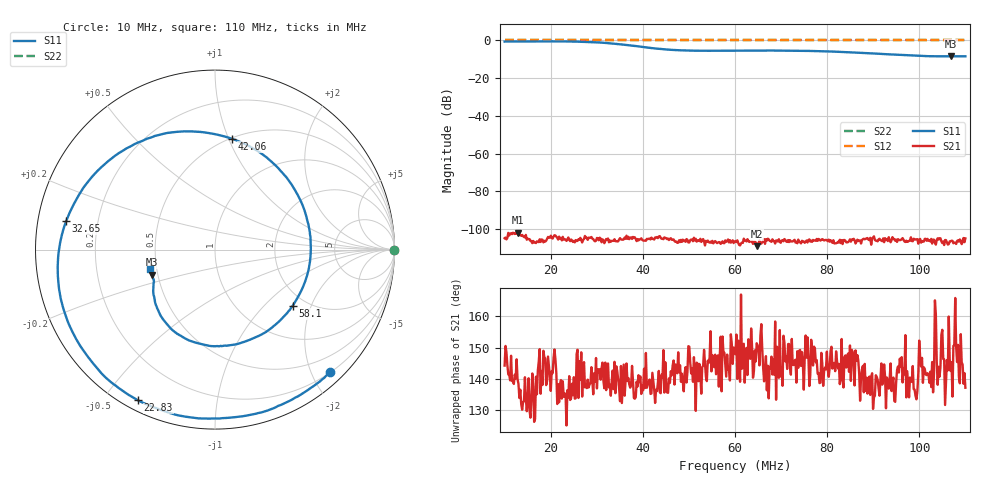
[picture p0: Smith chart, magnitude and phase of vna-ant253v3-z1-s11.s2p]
! Anritsu VNA Master:  Model: MS2034B/10/19/501
! SN:  1337062
! /bd0/ant253v3-z1-s11.s2p
! Existing Calibration Information:
! TYPE:  Current Settings,  Active Cal Settings
! TIME:  01/14/2016 06:03:40 PM,  01/14/2016 05:59:35 PM
! INTERNAL TEMP:  40.5 C,  40.5 C
! # POINTS:  500,  500
! START FREQ:  10.000 MHz,  10.000 MHz
! STOP FREQ:  110.000 MHz,  110.000 MHz
! SOURCE POWER:  High,  High
! IFBW:  100 Hz,  100 Hz
! AVG FACTOR:  4 ,  4
! REF PLANE 1:  0 mm,  0 mm
! REF PLANE 2:  0 mm,  0 mm
! CAL TYPE:  Full S11,  Full S11
! CAL METHOD:  SOLT,  SOLT
! CAL LINE TYPE:  Coax,  Coax
! DUT PORT 1:  K-Conn(M),  K-Conn(M)
! DUT PORT 2:  N-Conn(M),  N-Conn(M)
! CAL STATUS:  OK: Accuracy High,  --
# GHZ S DB R 50.0
! FREQ.GHZ  S11DB  S11A  S21DB  S21A  S12DB  S12A  S22DB  S22A
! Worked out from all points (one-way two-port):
!   500 points, 10 MHz to 110 MHz, reference 50 ohm
!   highest |S21| = -101.91 dB at 12.81 MHz (marker M1); lowest = -109.1 dB at 64.71 MHz (marker M2)
!   lowest |S11| = -8.4 dB at 106.8 MHz (marker M3), VSWR 2.22, Z = 23.2 - j7.58 ohm
!   |S11| at or under -10 dB: nowhere
!   |S22| runs from 0.0 to 0.0 dB; largest |S21 - S12| = 1
!   S11 on the Smith chart (normalised r, x): 10 MHz: 0.21, -2.30; 22.83 MHz: 0.04, -0.61; 32.65 MHz: 0.08, +0.09; 42.06 MHz: 0.51, +1.03; 58.1 MHz: 1.70, -1.49; 110 MHz: 0.46, -0.11
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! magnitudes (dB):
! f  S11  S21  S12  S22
! 10 MHz  -0.6  -104.9  0.0  0.0
! 12.81 MHz  -0.5  -101.9  0.0  0.0
! 22.83 MHz  -0.5  -105.6  0.0  0.0
! 26.83 MHz  -0.7  -107.1  0.0  0.0
! 29.64 MHz  -1.0  -106.5  0.0  0.0
! 32.65 MHz  -1.5  -107.0  0.0  0.0
! 36.45 MHz  -2.4  -103.5  0.0  0.0
! 42.06 MHz  -4.1  -105.2  0.0  0.0
! 43.47 MHz  -4.4  -103.9  0.0  0.0
! 45.87 MHz  -4.9  -105.2  0.0  0.0
! 49.48 MHz  -5.4  -105.3  0.0  0.0
! 52.48 MHz  -5.5  -105.2  0.0  0.0
! 58.1 MHz  -5.4  -106.8  0.0  0.0
! 60.1 MHz  -5.4  -106.4  0.0  0.0
! 64.71 MHz  -5.4  -109.1  0.0  0.0
! 71.92 MHz  -5.4  -105.9  0.0  0.0
! 76.73 MHz  -5.6  -106.8  0.0  0.0
! 81.74 MHz  -5.9  -107.6  0.0  0.0
! 93.37 MHz  -7.4  -104.3  0.0  0.0
! 101.8 MHz  -8.3  -105.2  0.0  0.0
! 106.8 MHz  -8.4  -106.4  0.0  0.0
! 110 MHz  -8.4  -105.0  0.0  0.0
